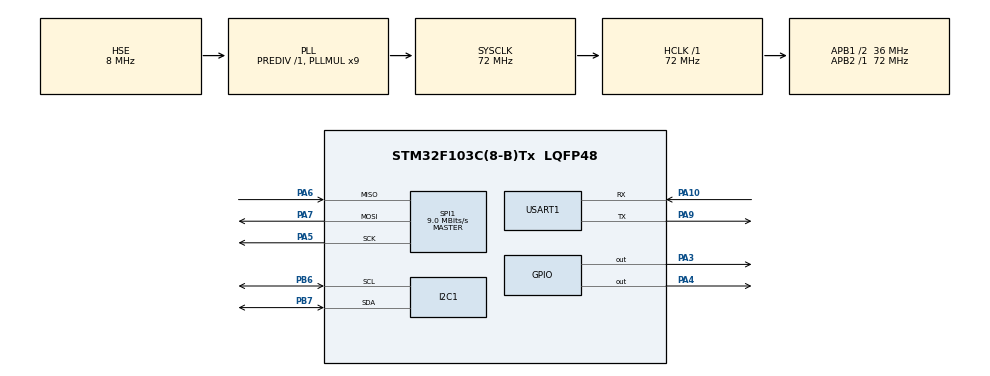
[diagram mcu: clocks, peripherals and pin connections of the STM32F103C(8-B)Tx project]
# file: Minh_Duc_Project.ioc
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Dma.Request0=USART1_TX
Dma.USART1_TX.0.Direction=DMA_MEMORY_TO_PERIPH
Dma.USART1_TX.0.Instance=DMA1_Channel4
Dma.USART1_TX.0.MemDataAlignment=DMA_MDATAALIGN_BYTE
Dma.USART1_TX.0.MemInc=DMA_MINC_ENABLE
Dma.USART1_TX.0.Mode=DMA_NORMAL
Dma.USART1_TX.0.PeriphDataAlignment=DMA_PDATAALIGN_BYTE
Dma.USART1_TX.0.PeriphInc=DMA_PINC_DISABLE
Dma.USART1_TX.0.Priority=DMA_PRIORITY_LOW
Mcu.Family=STM32F1
Mcu.Name=STM32F103C(8-B)Tx
Mcu.Package=LQFP48
NVIC.DMA1_Channel4_IRQn=true\:0\:0\:false\:false\:true\:false\:true\:true
NVIC.PriorityGroup=NVIC_PRIORITYGROUP_4
NVIC.USART1_IRQn=true\:0\:0\:false\:false\:true\:true\:true\:true
PA10.Mode=Asynchronous
PA10.Signal=USART1_RX
PA13.Mode=Serial_Wire
PA13.Signal=SYS_JTMS-SWDIO
PA14.Mode=Serial_Wire
PA14.Signal=SYS_JTCK-SWCLK
PA3.Signal=GPIO_Output
PA4.Signal=GPIO_Output
PA5.Mode=Full_Duplex_Master
PA5.Signal=SPI1_SCK
PA6.Mode=Full_Duplex_Master
PA6.Signal=SPI1_MISO
PA7.Mode=Full_Duplex_Master
PA7.Signal=SPI1_MOSI
PA9.Mode=Asynchronous
PA9.Signal=USART1_TX
PB6.Mode=I2C
PB6.Signal=I2C1_SCL
PB7.Mode=I2C
PB7.Signal=I2C1_SDA
PD0-OSC_IN.Mode=HSE-External-Oscillator
PD0-OSC_IN.Signal=RCC_OSC_IN
PD1-OSC_OUT.Mode=HSE-External-Oscillator
PD1-OSC_OUT.Signal=RCC_OSC_OUT
ProjectManager.HeapSize=0x200
ProjectManager.StackSize=0x400
ProjectManager.TargetToolchain=MDK-ARM V5.32
RCC.AHBFreq_Value=72000000
RCC.APB1CLKDivider=RCC_HCLK_DIV2
RCC.APB1Freq_Value=36000000
RCC.APB1TimFreq_Value=72000000
RCC.APB2Freq_Value=72000000
RCC.APB2TimFreq_Value=72000000
RCC.HCLKFreq_Value=72000000
RCC.PLLMUL=RCC_PLL_MUL9
RCC.PLLSourceVirtual=RCC_PLLSOURCE_HSE
RCC.SYSCLKFreq_VALUE=72000000
RCC.SYSCLKSource=RCC_SYSCLKSOURCE_PLLCLK
RCC.USBFreq_Value=72000000
SPI1.BaudRatePrescaler=SPI_BAUDRATEPRESCALER_8
SPI1.CalculateBaudRate=9.0 MBits/s
SPI1.Direction=SPI_DIRECTION_2LINES
SPI1.Mode=SPI_MODE_MASTER
SPI1.VirtualType=VM_MASTER
USART1.VirtualMode=VM_ASYNC
board=custom

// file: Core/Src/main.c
/* USER CODE BEGIN Header */
/**
  ******************************************************************************
  * @file           : main.c
  * @brief          : Main program body
  ******************************************************************************
  * @attention
  *
  * Copyright (c) 2025 STMicroelectronics.
  * All rights reserved.
  *
  * This software is licensed under terms that can be found in the LICENSE file
  * in the root directory of this software component.
  * If no LICENSE file comes with this software, it is provided AS-IS.
  *
  ******************************************************************************
  */
/* USER CODE END Header */
#include "main.h"

/* USER CODE BEGIN Includes */
#include "uart.h"
#include "lcd.h"
#include "RC522.h"
#include "rfid.h"
#include <stdbool.h>
#include <string.h>
#include <stdio.h>
/* USER CODE END Includes */

I2C_HandleTypeDef hi2c1;

SPI_HandleTypeDef hspi1;

UART_HandleTypeDef huart1;
DMA_HandleTypeDef hdma_usart1_tx;

/* USER CODE BEGIN PV */
I2C_LCD_HandleTypedef lcd;
/* USER CODE END PV */

void SystemClock_Config(void);
static void MX_GPIO_Init(void);
static void MX_DMA_Init(void);
static void MX_I2C1_Init(void);
static void MX_SPI1_Init(void);
static void MX_USART1_UART_Init(void);

/* USER CODE BEGIN 0 */
uint8_t data_rx;
uchar uid[5];
uint8_t str[16];

void HAL_UART_RxCpltCallback(UART_HandleTypeDef* huart){
	if(huart->Instance == huart1.Instance){
		uart_receive_data(data_rx);
		HAL_UART_Receive_IT(&huart1, &data_rx, 1);
	}
}

void display_state(){
	lcd_gotoxy(&lcd, 0, 0);
	switch(status)
	{
		case RFID_ADD_CARD:
			lcd_send_string(&lcd, "  ADD NEW CARD  ");
			break;
		case RFID_CHECK_CARD:
			lcd_send_string(&lcd, "   CHECK CARD   ");
			break;
		case RFID_REMOVE_CARD:
			lcd_send_string(&lcd, "  REMOVE  CARD  ");
			break;
	}
}
/* USER CODE END 0 */

int main(void)
{

  /* MCU Configuration--------------------------------------------------------*/

  /* Reset of all peripherals, Initializes the Flash interface and the Systick. */
  HAL_Init();

  /* Configure the system clock */
  SystemClock_Config();

  /* Initialize all configured peripherals */
  MX_GPIO_Init();
  MX_DMA_Init();
  MX_I2C1_Init();
  MX_SPI1_Init();
  MX_USART1_UART_Init();
  /* USER CODE BEGIN 2 */
	lcd_init(&lcd, &hi2c1, LCD_ADDRESS);
	HAL_UART_Receive_IT(&huart1, &data_rx, 1);
	lcd_gotoxy(&lcd, 0, 0);
	lcd_send_string(&lcd, "RFID System");
	RFID_Init();
	HAL_Delay(3000);
	display_state();
  /* USER CODE END 2 */

  /* Infinite loop */
  /* USER CODE BEGIN WHILE */
  while (1)
  {
		uart_handle();
		MFRC522_Init();
		if(MFRC522_Request(PICC_REQIDL, str) == MI_OK)
		{
			if(MFRC522_Anticoll(uid) == MI_OK)
			{
				MFRC522_SelectTag(uid);

				Handle_State state = RFID_Handle(uid);
				lcd_gotoxy(&lcd, 0, 1);
				switch(state)
				{
					case ADD_CARD_OK:
						lcd_send_string(&lcd, "Added Card      ");
						break;
					case ADD_CARD_ERROR:
						lcd_send_string(&lcd, "Add Card Fail   ");
						break;
					case CHECK_CARD_VALID:
						lcd_send_string(&lcd, "Access Granted  ");
						break;
					case CHECK_CARD_INVALID:
						lcd_send_string(&lcd, "Access Denied   ");
						break;
					case REMOVE_CARD_OK:
						lcd_send_string(&lcd, "Removed Card    ");
						break;
					case REMOVE_CARD_ERROR:
						lcd_send_string(&lcd, "Remove Fail     ");
						break;
					case CHECK_NO_CARD:
					default:
						break;
				}

				display_state();

				MFRC522_Halt();
				HAL_Delay(1000);
			}
		}
		lcd_gotoxy(&lcd, 0, 1);
		lcd_send_string(&lcd, "Waiting Card ...");
    /* USER CODE END WHILE */

  }
}

void SystemClock_Config(void)
{
  RCC_OscInitTypeDef RCC_OscInitStruct = {0};
  RCC_ClkInitTypeDef RCC_ClkInitStruct = {0};

  /** Initializes the RCC Oscillators according to the specified parameters
  * in the RCC_OscInitTypeDef structure.
  */
  RCC_OscInitStruct.OscillatorType = RCC_OSCILLATORTYPE_HSE;
  RCC_OscInitStruct.HSEState = RCC_HSE_ON;
  RCC_OscInitStruct.HSEPredivValue = RCC_HSE_PREDIV_DIV1;
  RCC_OscInitStruct.HSIState = RCC_HSI_ON;
  RCC_OscInitStruct.PLL.PLLState = RCC_PLL_ON;
  RCC_OscInitStruct.PLL.PLLSource = RCC_PLLSOURCE_HSE;
  RCC_OscInitStruct.PLL.PLLMUL = RCC_PLL_MUL9;
  if (HAL_RCC_OscConfig(&RCC_OscInitStruct) != HAL_OK)
  {
    Error_Handler();
  }

  /** Initializes the CPU, AHB and APB buses clocks
  */
  RCC_ClkInitStruct.ClockType = RCC_CLOCKTYPE_HCLK|RCC_CLOCKTYPE_SYSCLK
                              |RCC_CLOCKTYPE_PCLK1|RCC_CLOCKTYPE_PCLK2;
  RCC_ClkInitStruct.SYSCLKSource = RCC_SYSCLKSOURCE_PLLCLK;
  RCC_ClkInitStruct.AHBCLKDivider = RCC_SYSCLK_DIV1;
  RCC_ClkInitStruct.APB1CLKDivider = RCC_HCLK_DIV2;
  RCC_ClkInitStruct.APB2CLKDivider = RCC_HCLK_DIV1;

  if (HAL_RCC_ClockConfig(&RCC_ClkInitStruct, FLASH_LATENCY_2) != HAL_OK)
  {
    Error_Handler();
  }
}

static void MX_I2C1_Init(void)
{

  hi2c1.Instance = I2C1;
  hi2c1.Init.ClockSpeed = 100000;
  hi2c1.Init.DutyCycle = I2C_DUTYCYCLE_2;
  hi2c1.Init.OwnAddress1 = 0;
  hi2c1.Init.AddressingMode = I2C_ADDRESSINGMODE_7BIT;
  hi2c1.Init.DualAddressMode = I2C_DUALADDRESS_DISABLE;
  hi2c1.Init.OwnAddress2 = 0;
  hi2c1.Init.GeneralCallMode = I2C_GENERALCALL_DISABLE;
  hi2c1.Init.NoStretchMode = I2C_NOSTRETCH_DISABLE;
  if (HAL_I2C_Init(&hi2c1) != HAL_OK)
  {
    Error_Handler();
  }

}

static void MX_SPI1_Init(void)
{

  /* SPI1 parameter configuration*/
  hspi1.Instance = SPI1;
  hspi1.Init.Mode = SPI_MODE_MASTER;
  hspi1.Init.Direction = SPI_DIRECTION_2LINES;
  hspi1.Init.DataSize = SPI_DATASIZE_8BIT;
  hspi1.Init.CLKPolarity = SPI_POLARITY_LOW;
  hspi1.Init.CLKPhase = SPI_PHASE_1EDGE;
  hspi1.Init.NSS = SPI_NSS_SOFT;
  hspi1.Init.BaudRatePrescaler = SPI_BAUDRATEPRESCALER_8;
  hspi1.Init.FirstBit = SPI_FIRSTBIT_MSB;
  hspi1.Init.TIMode = SPI_TIMODE_DISABLE;
  hspi1.Init.CRCCalculation = SPI_CRCCALCULATION_DISABLE;
  hspi1.Init.CRCPolynomial = 10;
  if (HAL_SPI_Init(&hspi1) != HAL_OK)
  {
    Error_Handler();
  }

}

static void MX_USART1_UART_Init(void)
{

  huart1.Instance = USART1;
  huart1.Init.BaudRate = 115200;
  huart1.Init.WordLength = UART_WORDLENGTH_8B;
  huart1.Init.StopBits = UART_STOPBITS_1;
  huart1.Init.Parity = UART_PARITY_NONE;
  huart1.Init.Mode = UART_MODE_TX_RX;
  huart1.Init.HwFlowCtl = UART_HWCONTROL_NONE;
  huart1.Init.OverSampling = UART_OVERSAMPLING_16;
  if (HAL_UART_Init(&huart1) != HAL_OK)
  {
    Error_Handler();
  }

}

static void MX_DMA_Init(void)
{

  /* DMA controller clock enable */
  __HAL_RCC_DMA1_CLK_ENABLE();

  /* DMA interrupt init */
  /* DMA1_Channel4_IRQn interrupt configuration */
  HAL_NVIC_SetPriority(DMA1_Channel4_IRQn, 0, 0);
  HAL_NVIC_EnableIRQ(DMA1_Channel4_IRQn);

}

static void MX_GPIO_Init(void)
{
  GPIO_InitTypeDef GPIO_InitStruct = {0};

  /* GPIO Ports Clock Enable */
  __HAL_RCC_GPIOD_CLK_ENABLE();
  __HAL_RCC_GPIOA_CLK_ENABLE();
  __HAL_RCC_GPIOB_CLK_ENABLE();

  /*Configure GPIO pin Output Level */
  HAL_GPIO_WritePin(GPIOA, GPIO_PIN_3|GPIO_PIN_4, GPIO_PIN_RESET);

  /*Configure GPIO pins : PA3 PA4 */
  GPIO_InitStruct.Pin = GPIO_PIN_3|GPIO_PIN_4;
  GPIO_InitStruct.Mode = GPIO_MODE_OUTPUT_PP;
  GPIO_InitStruct.Pull = GPIO_NOPULL;
  GPIO_InitStruct.Speed = GPIO_SPEED_FREQ_LOW;
  HAL_GPIO_Init(GPIOA, &GPIO_InitStruct);

}

void Error_Handler(void)
{
  __disable_irq();
  while (1)
  {
  }
}
